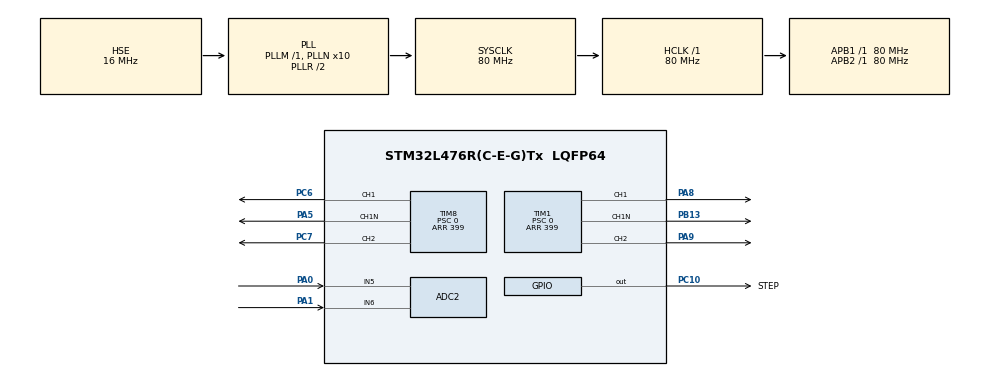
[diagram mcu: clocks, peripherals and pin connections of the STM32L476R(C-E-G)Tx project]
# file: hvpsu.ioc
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ADC2.Channel-0\#ChannelRegularConversion=ADC_CHANNEL_5
ADC2.ClockPrescaler=ADC_CLOCK_ASYNC_DIV32
ADC2.ContinuousConvMode=ENABLE
ADC2.DMAContinuousRequests=ENABLE
ADC2.EOCSelection=ADC_EOC_SEQ_CONV
ADC2.NbrOfConversionFlag=1
ADC2.OffsetNumber-0\#ChannelRegularConversion=ADC_OFFSET_NONE
ADC2.Overrun=ADC_OVR_DATA_OVERWRITTEN
ADC2.OversamplingMode=ENABLE
ADC2.Rank-0\#ChannelRegularConversion=1
ADC2.Ratio=ADC_OVERSAMPLING_RATIO_16
ADC2.RightBitShift=ADC_RIGHTBITSHIFT_4
ADC2.SamplingTime-0\#ChannelRegularConversion=ADC_SAMPLETIME_2CYCLES_5
ADC2.SingleDiff-0\#ChannelRegularConversion=ADC_DIFFERENTIAL_ENDED
Dma.ADC2.0.Direction=DMA_PERIPH_TO_MEMORY
Dma.ADC2.0.Instance=DMA1_Channel2
Dma.ADC2.0.MemDataAlignment=DMA_MDATAALIGN_HALFWORD
Dma.ADC2.0.MemInc=DMA_MINC_ENABLE
Dma.ADC2.0.Mode=DMA_CIRCULAR
Dma.ADC2.0.PeriphDataAlignment=DMA_PDATAALIGN_HALFWORD
Dma.ADC2.0.PeriphInc=DMA_PINC_DISABLE
Dma.ADC2.0.Priority=DMA_PRIORITY_LOW
Dma.Request0=ADC2
Mcu.Family=STM32L4
Mcu.Name=STM32L476R(C-E-G)Tx
Mcu.Package=LQFP64
NVIC.DMA1_Channel2_IRQn=true\:0\:0\:false\:false\:true\:false\:true
NVIC.PriorityGroup=NVIC_PRIORITYGROUP_4
NVIC.TIM2_IRQn=true\:0\:0\:false\:false\:true\:true\:true
PA0.Signal=ADCx_IN5
PA1.Signal=ADCx_IN6
PA13\ (JTMS-SWDIO).Mode=Serial_Wire
PA13\ (JTMS-SWDIO).Signal=SYS_JTMS-SWDIO
PA14\ (JTCK-SWCLK).Mode=Serial_Wire
PA14\ (JTCK-SWCLK).Signal=SYS_JTCK-SWCLK
PA5.GPIO_Speed=GPIO_SPEED_FREQ_VERY_HIGH
PA5.Mode=PWM Generation1 CH1 CH1N
PA5.Signal=TIM8_CH1N
PA8.GPIO_Speed=GPIO_SPEED_FREQ_VERY_HIGH
PA8.Signal=S_TIM1_CH1
PA9.Signal=S_TIM1_CH2
PB13.GPIO_Speed=GPIO_SPEED_FREQ_VERY_HIGH
PB13.Mode=PWM Generation1 CH1 CH1N
PB13.Signal=TIM1_CH1N
PC10.GPIO_Label=STEP
PC10.GPIO_Speed=GPIO_SPEED_FREQ_HIGH
PC10.Signal=GPIO_Output
PC6.GPIO_Speed=GPIO_SPEED_FREQ_VERY_HIGH
PC6.Signal=S_TIM8_CH1
PC7.Signal=S_TIM8_CH2
PH0-OSC_IN\ (PH0).Mode=HSE-External-Oscillator
PH0-OSC_IN\ (PH0).Signal=RCC_OSC_IN
PH1-OSC_OUT\ (PH1).Mode=HSE-External-Oscillator
PH1-OSC_OUT\ (PH1).Signal=RCC_OSC_OUT
ProjectManager.HeapSize=0x200
ProjectManager.StackSize=0x400
ProjectManager.TargetToolchain=STM32CubeIDE
RCC.ADCCLockSelection=RCC_ADCCLKSOURCE_SYSCLK
RCC.ADCFreq_Value=80000000
RCC.AHBFreq_Value=80000000
RCC.APB1Freq_Value=80000000
RCC.APB1TimFreq_Value=80000000
RCC.APB2Freq_Value=80000000
RCC.APB2TimFreq_Value=80000000
RCC.CortexFreq_Value=80000000
RCC.HCLKFreq_Value=80000000
RCC.HSE_VALUE=16000000
RCC.HSI_VALUE=16000000
RCC.LSE_VALUE=32768
RCC.MSI_VALUE=4000000
RCC.PLLN=10
RCC.PLLSourceVirtual=RCC_PLLSOURCE_HSE
RCC.SYSCLKFreq_VALUE=80000000
RCC.SYSCLKSource=RCC_SYSCLKSOURCE_PLLCLK
RCC.USBFreq_Value=64000000
RCC.VCOOutputFreq_Value=160000000
SH.ADCx_IN5.0=ADC2_IN5,IN5-Differential
SH.ADCx_IN6.0=ADC2_IN6,IN5-Differential
SH.S_TIM1_CH1.0=TIM1_CH1,PWM Generation1 CH1 CH1N
SH.S_TIM1_CH2.0=TIM1_CH2,PWM Generation2 CH2
SH.S_TIM8_CH1.0=TIM8_CH1,PWM Generation1 CH1 CH1N
SH.S_TIM8_CH2.0=TIM8_CH2,PWM Generation2 CH2
TIM1.AutoReloadPreload=TIM_AUTORELOAD_PRELOAD_DISABLE
TIM1.Channel-PWM\ Generation1\ CH1\ CH1N=TIM_CHANNEL_1
TIM1.Channel-PWM\ Generation2\ CH2=TIM_CHANNEL_2
TIM1.CounterMode=TIM_COUNTERMODE_CENTERALIGNED1
TIM1.DeadTime=25
TIM1.OC1Preload_PWM=DISABLE
TIM1.OCFastMode_PWM-PWM\ Generation1\ CH1\ CH1N=TIM_OCFAST_ENABLE
TIM1.OCMode_PWM-PWM\ Generation1\ CH1\ CH1N=TIM_OCMODE_ASSYMETRIC_PWM1
TIM1.OCMode_PWM-PWM\ Generation2\ CH2=TIM_OCMODE_ASSYMETRIC_PWM1
TIM1.Period=399
TIM1.Prescaler=0
TIM1.Pulse-PWM\ Generation1\ CH1\ CH1N=249
TIM1.TIM_MasterOutputTrigger=TIM_TRGO_OC1REF
TIM1.TIM_MasterSlaveMode=TIM_MASTERSLAVEMODE_DISABLE
TIM2.Period=399
TIM2.Prescaler=0
TIM8.AutoReloadPreload=TIM_AUTORELOAD_PRELOAD_DISABLE
TIM8.Channel-PWM\ Generation1\ CH1\ CH1N=TIM_CHANNEL_1
TIM8.Channel-PWM\ Generation2\ CH2=TIM_CHANNEL_2
TIM8.CounterMode=TIM_COUNTERMODE_CENTERALIGNED1
TIM8.DeadTime=25
TIM8.OC1Preload_PWM=ENABLE
TIM8.OCFastMode_PWM-PWM\ Generation1\ CH1\ CH1N=TIM_OCFAST_ENABLE
TIM8.OCMode_PWM-PWM\ Generation1\ CH1\ CH1N=TIM_OCMODE_ASSYMETRIC_PWM1
TIM8.OCMode_PWM-PWM\ Generation2\ CH2=TIM_OCMODE_ASSYMETRIC_PWM1
TIM8.Period=399
TIM8.Prescaler=0
TIM8.Pulse-PWM\ Generation1\ CH1\ CH1N=249
TIM8.TIM_MasterOutputTrigger=TIM_TRGO_RESET
TIM8.TIM_MasterSlaveMode=TIM_MASTERSLAVEMODE_DISABLE
VP_TIM1_VS_ClockSourceINT.Mode=Internal
VP_TIM2_VS_ClockSourceINT.Mode=Internal
VP_TIM8_VS_ClockSourceINT.Mode=Internal
VP_TIM8_VS_ClockSourceITR.Mode=TriggerSource_ITR0
VP_TIM8_VS_ControllerModeTrigger.Mode=Trigger Mode
board=custom

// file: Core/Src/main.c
/* USER CODE BEGIN Header */
/**
  ******************************************************************************
  * @file           : main.c
  * @brief          : Main program body
  ******************************************************************************
  * @attention
  *
  * <h2><center>&copy; Copyright (c) 2020 STMicroelectronics.
  * All rights reserved.</center></h2>
  *
  * This software component is licensed by ST under BSD 3-Clause license,
  * the "License"; You may not use this file except in compliance with the
  * License. You may obtain a copy of the License at:
  *                        opensource.org/licenses/BSD-3-Clause
  *
  ******************************************************************************
  */
/* USER CODE END Header */
#include "main.h"

/* USER CODE BEGIN Includes */

#include <stdbool.h>

/* USER CODE END Includes */

ADC_HandleTypeDef hadc2;
DMA_HandleTypeDef hdma_adc2;

TIM_HandleTypeDef htim1;
TIM_HandleTypeDef htim2;
TIM_HandleTypeDef htim8;

/* USER CODE BEGIN PV */

bool loopTimeElapsed = false;
int stepCounter = 0;

volatile uint16_t adc2Readings[4]; //ADC Readings

volatile float targetVoltage = 200.0f;
volatile float voltageError = 0;
volatile float integral = 0;
static const float kp = 100.0f;
static const float ki = 1.2f;
static const float dt = 0.1f;

int32_t phase = 0;

/* USER CODE END PV */

void SystemClock_Config(void);
static void MX_GPIO_Init(void);
static void MX_DMA_Init(void);
static void MX_TIM1_Init(void);
static void MX_TIM8_Init(void);
static void MX_ADC2_Init(void);
static void MX_TIM2_Init(void);

/* USER CODE BEGIN 0 */

void HAL_TIM_PeriodElapsedCallback(TIM_HandleTypeDef *htim) {
	if (htim->Instance == TIM2) {
		loopTimeElapsed = true;
	}
}

/* USER CODE END 0 */

int main(void)
{

  /* MCU Configuration--------------------------------------------------------*/

  /* Reset of all peripherals, Initializes the Flash interface and the Systick. */
  HAL_Init();

  /* Configure the system clock */
  SystemClock_Config();

  /* Initialize all configured peripherals */
  MX_GPIO_Init();
  MX_DMA_Init();
  MX_TIM1_Init();
  MX_TIM8_Init();
  MX_ADC2_Init();
  MX_TIM2_Init();
  /* USER CODE BEGIN 2 */

  // Calibrate ADC
  HAL_ADCEx_Calibration_Start(&hadc2, ADC_SINGLE_ENDED);

  // Start Current and Voltage measurement
  HAL_ADC_Start_DMA(&hadc2, (uint32_t *)adc2Readings, 1);

  /* USER CODE END 2 */

  /* Infinite loop */
  /* USER CODE BEGIN WHILE */
  SET_BIT(TIM1->CR1, TIM_CR1_UDIS);
  TIM1->CCR1 = 0;
  TIM1->CCR2 = 399;
  CLEAR_BIT(TIM1->CR1, TIM_CR1_UDIS);

  HAL_TIM_PWM_Start(&htim1, TIM_CHANNEL_1);
  HAL_TIMEx_PWMN_Start(&htim1, TIM_CHANNEL_1);

  SET_BIT(TIM8->CR1, TIM_CR1_UDIS);
  TIM8->CCR1 = 399;
  TIM8->CCR2 = 0;
  CLEAR_BIT(TIM8->CR1, TIM_CR1_UDIS);

  HAL_TIM_PWM_Start(&htim8, TIM_CHANNEL_1);
  HAL_TIMEx_PWMN_Start(&htim8, TIM_CHANNEL_1);

  HAL_TIM_Base_Start_IT(&htim2);
  while (1)
  {
	  if (loopTimeElapsed) {
		  float currentVoltage = ((((float)adc2Readings[0] * 3.3f) / 4096.0f) - 1.6f) * 2.0 * 3620000.0 / 20000.0f;

		  voltageError = targetVoltage - currentVoltage;
		  integral += voltageError * dt;

		  phase = kp * voltageError + ki * integral;
		  if (phase > 398) phase = 398;
		  if (phase < 0) phase = 0;

		  SET_BIT(TIM8->CR1, TIM_CR1_UDIS);
		  TIM8->CCR1 = 399 - phase;
		  TIM8->CCR2 = phase;
		  CLEAR_BIT(TIM8->CR1, TIM_CR1_UDIS);

		  loopTimeElapsed = false;
		  stepCounter++;
		  if (stepCounter == 10000) {
			  HAL_GPIO_TogglePin(STEP_GPIO_Port, STEP_Pin);
//			  if (targetVoltage == 50.0f)
//				  targetVoltage = 50.0f;
//			  else
//				  targetVoltage = 50.0f;
			  stepCounter = 0;
		  }
	  }

    /* USER CODE END WHILE */

  }
}

void SystemClock_Config(void)
{
  RCC_OscInitTypeDef RCC_OscInitStruct = {0};
  RCC_ClkInitTypeDef RCC_ClkInitStruct = {0};
  RCC_PeriphCLKInitTypeDef PeriphClkInit = {0};

  /** Initializes the RCC Oscillators according to the specified parameters
  * in the RCC_OscInitTypeDef structure.
  */
  RCC_OscInitStruct.OscillatorType = RCC_OSCILLATORTYPE_HSE;
  RCC_OscInitStruct.HSEState = RCC_HSE_ON;
  RCC_OscInitStruct.PLL.PLLState = RCC_PLL_ON;
  RCC_OscInitStruct.PLL.PLLSource = RCC_PLLSOURCE_HSE;
  RCC_OscInitStruct.PLL.PLLM = 1;
  RCC_OscInitStruct.PLL.PLLN = 10;
  RCC_OscInitStruct.PLL.PLLP = RCC_PLLP_DIV7;
  RCC_OscInitStruct.PLL.PLLQ = RCC_PLLQ_DIV2;
  RCC_OscInitStruct.PLL.PLLR = RCC_PLLR_DIV2;
  if (HAL_RCC_OscConfig(&RCC_OscInitStruct) != HAL_OK)
  {
    Error_Handler();
  }
  /** Initializes the CPU, AHB and APB buses clocks
  */
  RCC_ClkInitStruct.ClockType = RCC_CLOCKTYPE_HCLK|RCC_CLOCKTYPE_SYSCLK
                              |RCC_CLOCKTYPE_PCLK1|RCC_CLOCKTYPE_PCLK2;
  RCC_ClkInitStruct.SYSCLKSource = RCC_SYSCLKSOURCE_PLLCLK;
  RCC_ClkInitStruct.AHBCLKDivider = RCC_SYSCLK_DIV1;
  RCC_ClkInitStruct.APB1CLKDivider = RCC_HCLK_DIV1;
  RCC_ClkInitStruct.APB2CLKDivider = RCC_HCLK_DIV1;

  if (HAL_RCC_ClockConfig(&RCC_ClkInitStruct, FLASH_LATENCY_4) != HAL_OK)
  {
    Error_Handler();
  }
  PeriphClkInit.PeriphClockSelection = RCC_PERIPHCLK_ADC;
  PeriphClkInit.AdcClockSelection = RCC_ADCCLKSOURCE_SYSCLK;
  if (HAL_RCCEx_PeriphCLKConfig(&PeriphClkInit) != HAL_OK)
  {
    Error_Handler();
  }
  /** Configure the main internal regulator output voltage
  */
  if (HAL_PWREx_ControlVoltageScaling(PWR_REGULATOR_VOLTAGE_SCALE1) != HAL_OK)
  {
    Error_Handler();
  }
}

static void MX_ADC2_Init(void)
{

  ADC_ChannelConfTypeDef sConfig = {0};

  /** Common config
  */
  hadc2.Instance = ADC2;
  hadc2.Init.ClockPrescaler = ADC_CLOCK_ASYNC_DIV32;
  hadc2.Init.Resolution = ADC_RESOLUTION_12B;
  hadc2.Init.DataAlign = ADC_DATAALIGN_RIGHT;
  hadc2.Init.ScanConvMode = ADC_SCAN_DISABLE;
  hadc2.Init.EOCSelection = ADC_EOC_SEQ_CONV;
  hadc2.Init.LowPowerAutoWait = DISABLE;
  hadc2.Init.ContinuousConvMode = ENABLE;
  hadc2.Init.NbrOfConversion = 1;
  hadc2.Init.DiscontinuousConvMode = DISABLE;
  hadc2.Init.ExternalTrigConv = ADC_SOFTWARE_START;
  hadc2.Init.ExternalTrigConvEdge = ADC_EXTERNALTRIGCONVEDGE_NONE;
  hadc2.Init.DMAContinuousRequests = ENABLE;
  hadc2.Init.Overrun = ADC_OVR_DATA_OVERWRITTEN;
  hadc2.Init.OversamplingMode = ENABLE;
  hadc2.Init.Oversampling.Ratio = ADC_OVERSAMPLING_RATIO_16;
  hadc2.Init.Oversampling.RightBitShift = ADC_RIGHTBITSHIFT_4;
  hadc2.Init.Oversampling.TriggeredMode = ADC_TRIGGEREDMODE_SINGLE_TRIGGER;
  hadc2.Init.Oversampling.OversamplingStopReset = ADC_REGOVERSAMPLING_CONTINUED_MODE;
  if (HAL_ADC_Init(&hadc2) != HAL_OK)
  {
    Error_Handler();
  }
  /** Configure Regular Channel
  */
  sConfig.Channel = ADC_CHANNEL_5;
  sConfig.Rank = ADC_REGULAR_RANK_1;
  sConfig.SamplingTime = ADC_SAMPLETIME_2CYCLES_5;
  sConfig.SingleDiff = ADC_DIFFERENTIAL_ENDED;
  sConfig.OffsetNumber = ADC_OFFSET_NONE;
  sConfig.Offset = 0;
  if (HAL_ADC_ConfigChannel(&hadc2, &sConfig) != HAL_OK)
  {
    Error_Handler();
  }

}

static void MX_TIM1_Init(void)
{

  TIM_ClockConfigTypeDef sClockSourceConfig = {0};
  TIM_MasterConfigTypeDef sMasterConfig = {0};
  TIM_OC_InitTypeDef sConfigOC = {0};
  TIM_BreakDeadTimeConfigTypeDef sBreakDeadTimeConfig = {0};

  htim1.Instance = TIM1;
  htim1.Init.Prescaler = 0;
  htim1.Init.CounterMode = TIM_COUNTERMODE_CENTERALIGNED1;
  htim1.Init.Period = 399;
  htim1.Init.ClockDivision = TIM_CLOCKDIVISION_DIV1;
  htim1.Init.RepetitionCounter = 0;
  htim1.Init.AutoReloadPreload = TIM_AUTORELOAD_PRELOAD_DISABLE;
  if (HAL_TIM_Base_Init(&htim1) != HAL_OK)
  {
    Error_Handler();
  }
  sClockSourceConfig.ClockSource = TIM_CLOCKSOURCE_INTERNAL;
  if (HAL_TIM_ConfigClockSource(&htim1, &sClockSourceConfig) != HAL_OK)
  {
    Error_Handler();
  }
  if (HAL_TIM_PWM_Init(&htim1) != HAL_OK)
  {
    Error_Handler();
  }
  sMasterConfig.MasterOutputTrigger = TIM_TRGO_OC1REF;
  sMasterConfig.MasterOutputTrigger2 = TIM_TRGO2_RESET;
  sMasterConfig.MasterSlaveMode = TIM_MASTERSLAVEMODE_DISABLE;
  if (HAL_TIMEx_MasterConfigSynchronization(&htim1, &sMasterConfig) != HAL_OK)
  {
    Error_Handler();
  }
  sConfigOC.OCMode = TIM_OCMODE_ASSYMETRIC_PWM1;
  sConfigOC.Pulse = 249;
  sConfigOC.OCPolarity = TIM_OCPOLARITY_HIGH;
  sConfigOC.OCNPolarity = TIM_OCNPOLARITY_HIGH;
  sConfigOC.OCFastMode = TIM_OCFAST_ENABLE;
  sConfigOC.OCIdleState = TIM_OCIDLESTATE_RESET;
  sConfigOC.OCNIdleState = TIM_OCNIDLESTATE_RESET;
  if (HAL_TIM_PWM_ConfigChannel(&htim1, &sConfigOC, TIM_CHANNEL_1) != HAL_OK)
  {
    Error_Handler();
  }
  __HAL_TIM_DISABLE_OCxPRELOAD(&htim1, TIM_CHANNEL_1);
  sConfigOC.Pulse = 0;
  sConfigOC.OCFastMode = TIM_OCFAST_DISABLE;
  if (HAL_TIM_PWM_ConfigChannel(&htim1, &sConfigOC, TIM_CHANNEL_2) != HAL_OK)
  {
    Error_Handler();
  }
  sBreakDeadTimeConfig.OffStateRunMode = TIM_OSSR_DISABLE;
  sBreakDeadTimeConfig.OffStateIDLEMode = TIM_OSSI_DISABLE;
  sBreakDeadTimeConfig.LockLevel = TIM_LOCKLEVEL_OFF;
  sBreakDeadTimeConfig.DeadTime = 25;
  sBreakDeadTimeConfig.BreakState = TIM_BREAK_DISABLE;
  sBreakDeadTimeConfig.BreakPolarity = TIM_BREAKPOLARITY_HIGH;
  sBreakDeadTimeConfig.BreakFilter = 0;
  sBreakDeadTimeConfig.Break2State = TIM_BREAK2_DISABLE;
  sBreakDeadTimeConfig.Break2Polarity = TIM_BREAK2POLARITY_HIGH;
  sBreakDeadTimeConfig.Break2Filter = 0;
  sBreakDeadTimeConfig.AutomaticOutput = TIM_AUTOMATICOUTPUT_DISABLE;
  if (HAL_TIMEx_ConfigBreakDeadTime(&htim1, &sBreakDeadTimeConfig) != HAL_OK)
  {
    Error_Handler();
  }
  HAL_TIM_MspPostInit(&htim1);

}

static void MX_TIM2_Init(void)
{

  TIM_ClockConfigTypeDef sClockSourceConfig = {0};
  TIM_MasterConfigTypeDef sMasterConfig = {0};

  htim2.Instance = TIM2;
  htim2.Init.Prescaler = 0;
  htim2.Init.CounterMode = TIM_COUNTERMODE_UP;
  htim2.Init.Period = 399;
  htim2.Init.ClockDivision = TIM_CLOCKDIVISION_DIV1;
  htim2.Init.AutoReloadPreload = TIM_AUTORELOAD_PRELOAD_DISABLE;
  if (HAL_TIM_Base_Init(&htim2) != HAL_OK)
  {
    Error_Handler();
  }
  sClockSourceConfig.ClockSource = TIM_CLOCKSOURCE_INTERNAL;
  if (HAL_TIM_ConfigClockSource(&htim2, &sClockSourceConfig) != HAL_OK)
  {
    Error_Handler();
  }
  sMasterConfig.MasterOutputTrigger = TIM_TRGO_RESET;
  sMasterConfig.MasterSlaveMode = TIM_MASTERSLAVEMODE_DISABLE;
  if (HAL_TIMEx_MasterConfigSynchronization(&htim2, &sMasterConfig) != HAL_OK)
  {
    Error_Handler();
  }

}

static void MX_TIM8_Init(void)
{

  TIM_ClockConfigTypeDef sClockSourceConfig = {0};
  TIM_SlaveConfigTypeDef sSlaveConfig = {0};
  TIM_MasterConfigTypeDef sMasterConfig = {0};
  TIM_OC_InitTypeDef sConfigOC = {0};
  TIM_BreakDeadTimeConfigTypeDef sBreakDeadTimeConfig = {0};

  htim8.Instance = TIM8;
  htim8.Init.Prescaler = 0;
  htim8.Init.CounterMode = TIM_COUNTERMODE_CENTERALIGNED1;
  htim8.Init.Period = 399;
  htim8.Init.ClockDivision = TIM_CLOCKDIVISION_DIV1;
  htim8.Init.RepetitionCounter = 0;
  htim8.Init.AutoReloadPreload = TIM_AUTORELOAD_PRELOAD_DISABLE;
  if (HAL_TIM_Base_Init(&htim8) != HAL_OK)
  {
    Error_Handler();
  }
  sClockSourceConfig.ClockSource = TIM_CLOCKSOURCE_INTERNAL;
  if (HAL_TIM_ConfigClockSource(&htim8, &sClockSourceConfig) != HAL_OK)
  {
    Error_Handler();
  }
  if (HAL_TIM_PWM_Init(&htim8) != HAL_OK)
  {
    Error_Handler();
  }
  sSlaveConfig.SlaveMode = TIM_SLAVEMODE_TRIGGER;
  sSlaveConfig.InputTrigger = TIM_TS_ITR0;
  if (HAL_TIM_SlaveConfigSynchro(&htim8, &sSlaveConfig) != HAL_OK)
  {
    Error_Handler();
  }
  sMasterConfig.MasterOutputTrigger = TIM_TRGO_RESET;
  sMasterConfig.MasterOutputTrigger2 = TIM_TRGO2_RESET;
  sMasterConfig.MasterSlaveMode = TIM_MASTERSLAVEMODE_DISABLE;
  if (HAL_TIMEx_MasterConfigSynchronization(&htim8, &sMasterConfig) != HAL_OK)
  {
    Error_Handler();
  }
  sConfigOC.OCMode = TIM_OCMODE_ASSYMETRIC_PWM1;
  sConfigOC.Pulse = 249;
  sConfigOC.OCPolarity = TIM_OCPOLARITY_HIGH;
  sConfigOC.OCNPolarity = TIM_OCNPOLARITY_HIGH;
  sConfigOC.OCFastMode = TIM_OCFAST_ENABLE;
  sConfigOC.OCIdleState = TIM_OCIDLESTATE_RESET;
  sConfigOC.OCNIdleState = TIM_OCNIDLESTATE_RESET;
  if (HAL_TIM_PWM_ConfigChannel(&htim8, &sConfigOC, TIM_CHANNEL_1) != HAL_OK)
  {
    Error_Handler();
  }
  sConfigOC.Pulse = 0;
  sConfigOC.OCFastMode = TIM_OCFAST_DISABLE;
  if (HAL_TIM_PWM_ConfigChannel(&htim8, &sConfigOC, TIM_CHANNEL_2) != HAL_OK)
  {
    Error_Handler();
  }
  sBreakDeadTimeConfig.OffStateRunMode = TIM_OSSR_DISABLE;
  sBreakDeadTimeConfig.OffStateIDLEMode = TIM_OSSI_DISABLE;
  sBreakDeadTimeConfig.LockLevel = TIM_LOCKLEVEL_OFF;
  sBreakDeadTimeConfig.DeadTime = 25;
  sBreakDeadTimeConfig.BreakState = TIM_BREAK_DISABLE;
  sBreakDeadTimeConfig.BreakPolarity = TIM_BREAKPOLARITY_HIGH;
  sBreakDeadTimeConfig.BreakFilter = 0;
  sBreakDeadTimeConfig.Break2State = TIM_BREAK2_DISABLE;
  sBreakDeadTimeConfig.Break2Polarity = TIM_BREAK2POLARITY_HIGH;
  sBreakDeadTimeConfig.Break2Filter = 0;
  sBreakDeadTimeConfig.AutomaticOutput = TIM_AUTOMATICOUTPUT_DISABLE;
  if (HAL_TIMEx_ConfigBreakDeadTime(&htim8, &sBreakDeadTimeConfig) != HAL_OK)
  {
    Error_Handler();
  }
  HAL_TIM_MspPostInit(&htim8);

}

static void MX_DMA_Init(void)
{

  /* DMA controller clock enable */
  __HAL_RCC_DMA1_CLK_ENABLE();

  /* DMA interrupt init */
  /* DMA1_Channel2_IRQn interrupt configuration */
  HAL_NVIC_SetPriority(DMA1_Channel2_IRQn, 0, 0);
  HAL_NVIC_EnableIRQ(DMA1_Channel2_IRQn);

}

static void MX_GPIO_Init(void)
{
  GPIO_InitTypeDef GPIO_InitStruct = {0};

  /* GPIO Ports Clock Enable */
  __HAL_RCC_GPIOH_CLK_ENABLE();
  __HAL_RCC_GPIOA_CLK_ENABLE();
  __HAL_RCC_GPIOB_CLK_ENABLE();
  __HAL_RCC_GPIOC_CLK_ENABLE();

  /*Configure GPIO pin Output Level */
  HAL_GPIO_WritePin(STEP_GPIO_Port, STEP_Pin, GPIO_PIN_RESET);

  /*Configure GPIO pin : STEP_Pin */
  GPIO_InitStruct.Pin = STEP_Pin;
  GPIO_InitStruct.Mode = GPIO_MODE_OUTPUT_PP;
  GPIO_InitStruct.Pull = GPIO_NOPULL;
  GPIO_InitStruct.Speed = GPIO_SPEED_FREQ_HIGH;
  HAL_GPIO_Init(STEP_GPIO_Port, &GPIO_InitStruct);

}

void Error_Handler(void)
{
}

/************************ (C) COPYRIGHT STMicroelectronics *****END OF FILE****/
